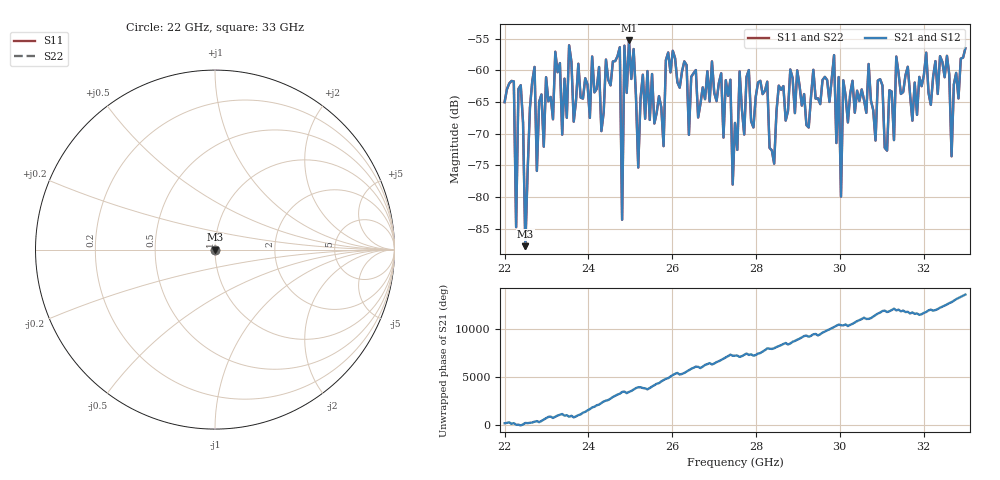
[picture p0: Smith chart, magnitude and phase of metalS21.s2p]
!Keysight Technologies,N5224B,MY57181201,A.12.70.07
!Date: Friday, July 15, 2022 12:01:59
!Correction: S11(Response(S21))
!S21(Response(S21))
!S12(Response(S21))
!S22(Response(S21))
!S2P File: Measurements: S11, S21, S12, S22:
# Hz S  dB  R 50
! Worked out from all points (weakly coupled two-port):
!   201 points, 22 GHz to 33 GHz, reference 50 ohm
!   highest |S21| = -55.29 dB at 24.97 GHz (marker M1); lowest = -87.7 dB at 22.5 GHz (marker M2)
!   lowest |S11| = -87.7 dB at 22.5 GHz (marker M3), VSWR 1.00, Z = 50 - j0.00167 ohm
!   |S11| at or under -10 dB: start of sweep to end of sweep
!   |S22| runs from -87.7 to -55.3 dB; largest |S21 - S12| = 0
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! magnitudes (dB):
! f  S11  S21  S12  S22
! 22 GHz  -65.0  -65.0  -65.0  -65.0
! 22.27 GHz  -84.7  -84.7  -84.7  -84.7
! 22.39 GHz  -62.4  -62.4  -62.4  -62.4
! 22.5 GHz  -87.7  -87.7  -87.7  -87.7
! 22.71 GHz  -59.5  -59.5  -59.5  -59.5
! 22.77 GHz  -75.9  -75.9  -75.9  -75.9
! 23.87 GHz  -64.5  -64.5  -64.5  -64.5
! 24.75 GHz  -56.4  -56.4  -56.4  -56.4
! 24.8 GHz  -83.6  -83.6  -83.6  -83.6
! 24.86 GHz  -56.1  -56.1  -56.1  -56.1
! 24.97 GHz  -55.3  -55.3  -55.3  -55.3
! 25.19 GHz  -75.3  -75.3  -75.3  -75.3
! 25.68 GHz  -64.1  -64.1  -64.1  -64.1
! 27.5 GHz  -68.3  -68.3  -68.3  -68.3
! 29.37 GHz  -59.9  -59.9  -59.9  -59.9
! 29.86 GHz  -57.6  -57.6  -57.6  -57.6
! 30.03 GHz  -79.9  -79.9  -79.9  -79.9
! 30.09 GHz  -61.6  -61.6  -61.6  -61.6
! 31.18 GHz  -63.1  -63.1  -63.1  -63.1
! 32.56 GHz  -57.7  -57.7  -57.7  -57.7
! 32.67 GHz  -73.6  -73.6  -73.6  -73.6
! 33 GHz  -56.5  -56.5  -56.5  -56.5
